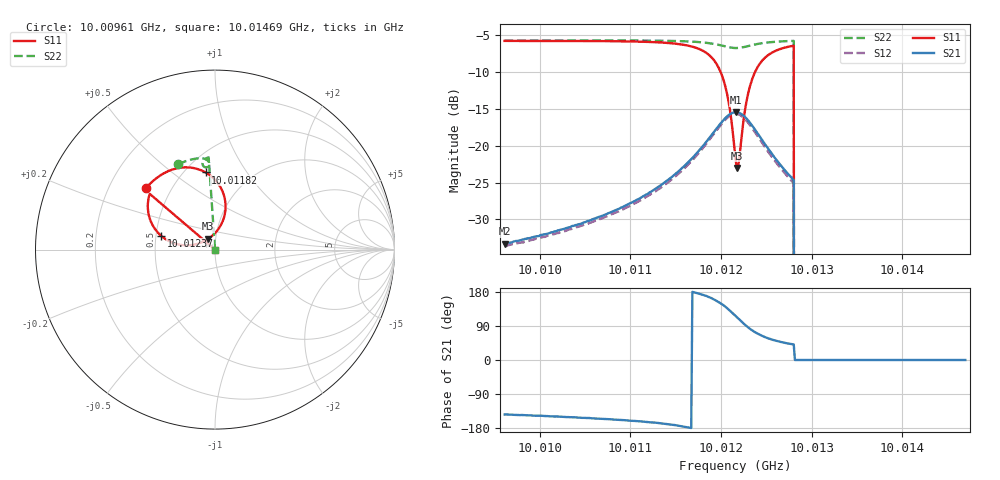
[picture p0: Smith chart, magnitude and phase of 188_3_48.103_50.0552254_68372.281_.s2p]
#  HZ  S  RI  R  50.00
! Rohde & Schwarz Vector Network Analyzer
! Rohde-Schwarz,ZNB20-2Port,1311601062101988,3.16
! Created: UTC 12/23/2023, 3:53:29 AM
! freq[Hz]  re:S11  im:S11  re:S21  im:S21  re:S12  im:S12  re:S22  im:S22
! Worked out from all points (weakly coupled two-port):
!   401 points, 10.00961 GHz to 10.01469 GHz, reference 50 ohm
!   highest |S21| = -15.44 dB at 10.01217 GHz (marker M1); lowest = -33.3 dB at 10.00961 GHz (marker M2)
!   lowest |S11| = -23.0 dB at 10.01218 GHz (marker M3), VSWR 1.15, Z = 46.1 + j5.56 ohm
!   |S11| at or under -10 dB: 10.012 GHz to 10.01237 GHz (378.4 kHz wide, 0.00378 % of centre); 10.0128 GHz to end of sweep
!   |S22| runs from - to -5.7 dB; largest |S21 - S12| = 0.0085
!   S11 on the Smith chart (normalised r, x): 10.00961 GHz: 0.36, +0.34; 10.01182 GHz: 0.63, +0.67; 10.01237 GHz: 0.53, +0.09; 10.01469 GHz: 1.00, +0.00
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1.0009614e10  -0.3858 0.3413  -0.0174 -0.0128  -0.0162 -0.0131  -0.2048 0.4758
1.0010465e10  -0.3307 0.3946  -0.0263 -0.0136  -0.0247 -0.0144  -0.1515 0.4962
1.0010897e10  -0.29 0.4224  -0.0353 -0.0141  -0.0331 -0.0152  -0.1223 0.5038
1.0011316e10  -0.2283 0.4489  -0.0513 -0.0123  -0.0488 -0.0143  -0.091 0.5087
1.0011595e10  -0.1561 0.4583  -0.0725 -0.00509  -0.0696 -0.00858  -0.0669 0.5079
1.0011824e10  -0.0525 0.4298  -0.1023 0.0178  -0.0999 0.0122  -0.0445 0.4996
1.0011938e10  0.0165 0.3691  -0.1183 0.0483  -0.1175 0.0407  -0.0346 0.4885
1.0012027e10  0.0562 0.2741  -0.1216 0.0869  -0.1225 0.0788  -0.0321 0.4752
1.001209e10  0.0507 0.1806  -0.1084 0.121  -0.1108 0.1135  -0.0362 0.465
1.0012154e10  -0.00312 0.0883  -0.0779 0.1497  -0.0821 0.1427  -0.0462 0.4587
1.0012167e10  -0.0199 0.073  -0.0701 0.1538  -0.0744 0.147  -0.0485 0.4584
1.0012179e10  -0.0373 0.06  -0.0622 0.1568  -0.0662 0.1503  -0.0511 0.4583
1.0012205e10  -0.0767 0.0393  -0.046 0.1603  -0.0494 0.1544  -0.0557 0.459
1.0012281e10  -0.1985 0.0274  0.00138 0.153  -0.00391 0.1478  -0.0664 0.4677
1.0012319e10  -0.2498 0.0441  0.0194 0.142  0.014 0.1374  -0.0689 0.4736
1.001237e10  -0.3019 0.0785  0.0356 0.1249  0.0299 0.1211  -0.0693 0.4818
1.0012522e10  -0.3682 0.1889  0.0518 0.0794  0.0461 0.0778  -0.0602 0.5
1.0012776e10  -0.3658 0.3032  0.045 0.0407  0.041 0.0406  -0.0377 0.5136
1.001284e10  0 0  0 0  0 0  0 0
1.0013005e10  0 0  0 0  0 0  0 0
1.0013855e10  0 0  0 0  0 0  0 0
1.0014693e10  0 0  0 0  0 0  0 0
